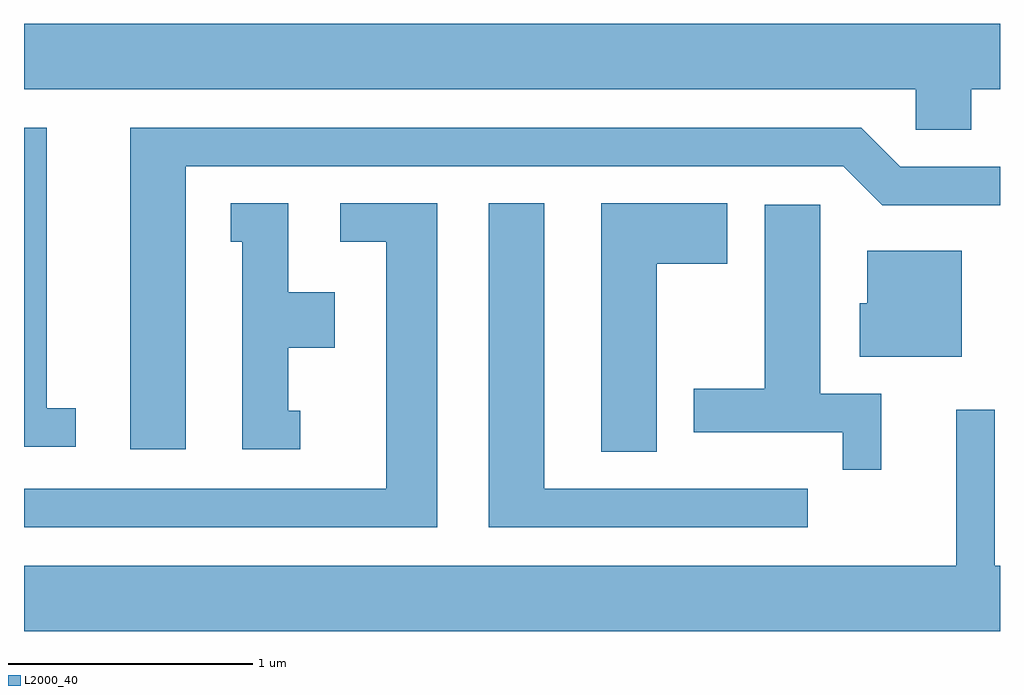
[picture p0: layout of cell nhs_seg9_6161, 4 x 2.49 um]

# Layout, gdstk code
import gdstk
lib = gdstk.Library(unit=1e-6, precision=1e-09)
def P(c, l, *ps):  # polygons
    for p in ps: c.add(gdstk.Polygon(p, *l))
L2000_40 = (2000, 40)

nhs_seg9_6161 = lib.new_cell('nhs_seg9_6161')
P(nhs_seg9_6161, L2000_40, [(371.494,1967.396),(371.611,1967.396),(371.611,1967.664),(367.611,1967.664),(367.611,1967.396),(371.266,1967.396),(371.266,1967.231),(371.494,1967.231)],
  [(368.274,1967.081),(370.969,1967.081),(371.129,1966.921),(371.611,1966.921),(371.611,1967.079),(371.202,1967.079),(371.042,1967.239),(368.046,1967.239),(368.046,1965.921),(368.274,1965.921)],
  [(367.823,1966.089),(367.704,1966.089),(367.704,1967.239),(367.611,1967.239),(367.611,1965.931),(367.823,1965.931)],
  [(370.823,1965.759),(369.744,1965.759),(369.744,1966.929),(369.516,1966.929),(369.516,1965.601),(370.823,1965.601)],
  [(368.743,1966.079),(368.694,1966.079),(368.694,1966.336),(368.884,1966.336),(368.884,1966.564),(368.694,1966.564),(368.694,1966.929),(368.458,1966.929),(368.458,1966.771),(368.506,1966.771),(368.506,1965.921),(368.743,1965.921)],
  [(369.304,1966.929),(368.908,1966.929),(368.908,1966.771),(369.096,1966.771),(369.096,1965.759),(367.611,1965.759),(367.611,1965.601),(369.304,1965.601)],
  [(370.204,1966.681),(370.494,1966.681),(370.494,1966.929),(369.976,1966.929),(369.976,1965.911),(370.204,1965.911)],
  [(371.124,1966.149),(370.874,1966.149),(370.874,1966.924),(370.646,1966.924),(370.646,1966.169),(370.356,1966.169),(370.356,1965.991),(370.966,1965.991),(370.966,1965.838),(371.124,1965.838)],
  [(371.454,1966.734),(371.066,1966.734),(371.066,1966.519),(371.036,1966.519),(371.036,1966.301),(371.454,1966.301)],
  [(371.611,1965.444),(371.589,1965.444),(371.589,1966.083),(371.431,1966.083),(371.431,1965.444),(367.611,1965.444),(367.611,1965.176),(371.611,1965.176)])

lib.write_gds('nhs_seg9_6161.gds')
